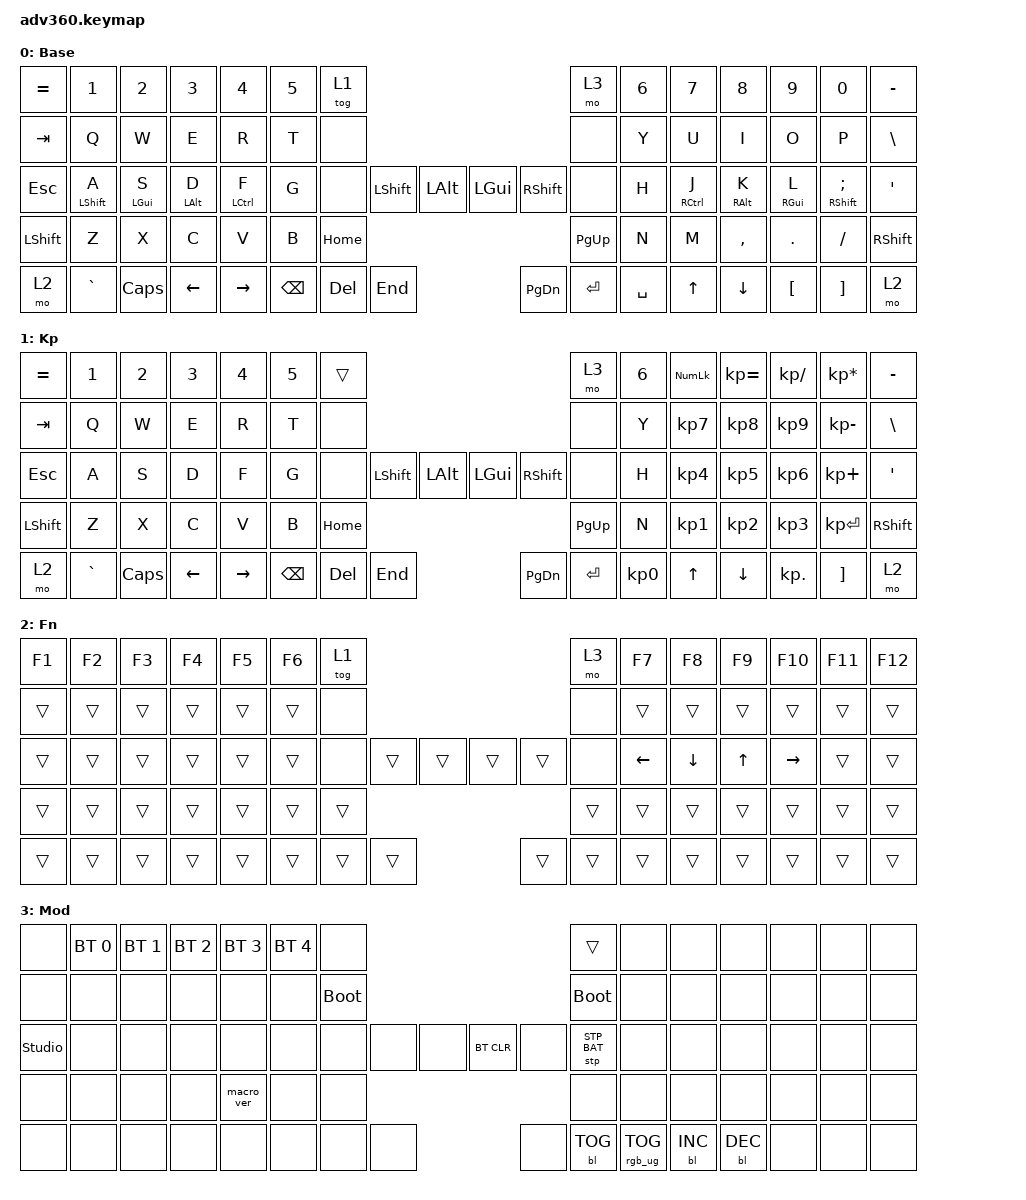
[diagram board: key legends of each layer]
#include <behaviors.dtsi>
#include <dt-bindings/zmk/keys.h>
#include <dt-bindings/zmk/bt.h>
#include <dt-bindings/zmk/rgb.h>
#include <dt-bindings/zmk/stp.h>
#include <dt-bindings/zmk/backlight.h>
#include <dt-bindings/zmk/pointing.h>

#define KEYS_LEFT 0 1 2 3 4 5 6 \
                  14 15 16 17 18 19 20 \
                  28 29 30 31 32 33 34 \
                  46 47 48 49 50 51 \
                  66 67 68 69 70

#define KEYS_RIGHT 7 8 9 10 11 12 13 \
                   21 22 23 24 25 26 27 \
                   39 40 41 42 43 44 45 \
                   60 61 62 63 64 65 \
                   77 78 79 80 81

#define THUMBS_LEFT 35 36 54 71 72 73

#define THUMBS_RIGHT 37 38 57 74 75 76

#define THUMBS THUMBS_LEFT THUMBS_RIGHT

// Home row mods CAGS
#define _F_CTL &hm_l LCTRL F  // Control on index
#define _D_ALT &hm_l LALT D
#define _S_GUI &hm_l LGUI S   // Command on middle fingers 
#define _A_SFT &hm_l LSHFT A
#define _J_CTL &hm_r RCTRL J  // Control on index
#define _K_ALT &hm_r RALT K
#define _L_GUI &hm_r RGUI L   // Command on middle fingers
#define _SM_SFT &hm_r RSHFT SEMI


/ {
    behaviors {
      #include "macros.dtsi"
      #include "version.dtsi"

      hm: homerow_mods {
          compatible = "zmk,behavior-hold-tap";
          label = "HOMEROW_MODS";
          #binding-cells = <2>;
          tapping-term-ms = <200>;
          require-prior-idle-ms = <150>;
          quick_tap_ms = <175>;
          flavor = "tap-preferred";
          bindings = <&kp>, <&kp>;
      };
      hm_l: homerow_mods_left {
        compatible = "zmk,behavior-hold-tap";
        label = "HOMEROW_MODS_LEFT";
        #binding-cells = <2>;
        tapping-term-ms = <200>;
        quick_tap_ms = <175>;
        require-prior-idle-ms = <125>;
        flavor = "tap-preferred";
        bindings = <&kp>, <&kp>; 
        hold-trigger-key-positions = <KEYS_RIGHT THUMBS>;
        hold-trigger-on-release;

      };
      hm_r: homerow_mods_right {
        compatible = "zmk,behavior-hold-tap";
        label = "HOMEROW_MODS_RIGHT";
        #binding-cells = <2>;
        tapping-term-ms = <200>;
        quick_tap_ms = <175>;
        require-prior-idle-ms = <125>;
        flavor = "tap-preferred";
        bindings = <&kp>, <&kp>;
        hold-trigger-key-positions = <KEYS_LEFT THUMBS>;
        hold-trigger-on-release;

      };
    };

  keymap {
    compatible = "zmk,keymap";

    default_layer {
      display-name = "Base";
      bindings = <
        &kp EQUAL &kp N1    &kp N2   &kp N3   &kp N4     &kp N5 &tog 1                                                           &mo 3 &kp N6 &kp N7 &kp N8    &kp N9   &kp N0   &kp MINUS
        &kp TAB   &kp Q     &kp W    &kp E    &kp R      &kp T  &none                                                            &none &kp Y  &kp U  &kp I     &kp O    &kp P    &kp BSLH
        &kp ESC   _A_SFT    _S_GUI  _D_ALT  _F_CTL       &kp G  &none           &kp LSHFT &kp LALT &kp LGUI  &kp RSHFT           &none &kp H  _J_CTL _K_ALT    _L_GUI   _SM_SFT  &kp SQT
        &kp LSHFT &kp Z     &kp X    &kp C    &kp V      &kp B                            &kp HOME &kp PG_UP                           &kp N  &kp M  &kp COMMA &kp DOT  &kp FSLH &kp RSHFT
        &mo 2     &kp GRAVE &kp CAPS &kp LEFT &kp RIGHT                &kp BSPC &kp DEL   &kp END  &kp PG_DN &kp ENTER &kp SPACE              &kp UP &kp DOWN  &kp LBKT &kp RBKT &mo 2
      >;
    };
    keypad {
      display-name = "Kp";
      bindings = <
        &kp EQUAL &kp N1    &kp N2   &kp N3   &kp N4     &kp N5 &trans                                                           &mo 3 &kp N6 &kp KP_NUM &kp KP_EQUAL &kp KP_DIVIDE &kp KP_MULTIPLY &kp MINUS
        &kp TAB   &kp Q     &kp W    &kp E    &kp R      &kp T  &none                                                            &none &kp Y  &kp KP_N7  &kp KP_N8    &kp KP_N9     &kp KP_MINUS    &kp BSLH
        &kp ESC   &kp A     &kp S    &kp D    &kp F      &kp G  &none           &kp LSHFT &kp LALT &kp LGUI  &kp RSHFT           &none &kp H  &kp KP_N4  &kp KP_N5    &kp KP_N6     &kp KP_PLUS     &kp SQT
        &kp LSHFT &kp Z     &kp X    &kp C    &kp V      &kp B                            &kp HOME &kp PG_UP                           &kp N  &kp KP_N1  &kp KP_N2    &kp KP_N3     &kp KP_ENTER    &kp RSHFT
        &mo 2     &kp GRAVE &kp CAPS &kp LEFT &kp RIGHT                &kp BSPC &kp DEL   &kp END  &kp PG_DN &kp ENTER &kp KP_N0              &kp UP     &kp DOWN     &kp KP_DOT    &kp RBKT        &mo 2
      >;
    };
    fn {
      display-name = "Fn";
      bindings = <
        &kp F1 &kp F2 &kp F3 &kp F4 &kp F5 &kp F6 &tog 1                                           &mo 3 &kp F7   &kp F8    &kp F9 &kp F10   &kp F11 &kp F12
        &trans &trans &trans &trans &trans &trans  &none                                           &none &trans   &trans    &trans &trans    &trans  &trans
        &trans &trans &trans &trans &trans &trans  &none        &trans &trans &trans &trans        &none &kp LEFT &kp DOWN  &kp UP &kp RIGHT &trans  &trans
        &trans &trans &trans &trans &trans &trans                      &trans &trans                     &trans   &trans    &trans &trans    &trans  &trans
        &trans &trans &trans &trans &trans               &trans &trans &trans &trans &trans &trans                &trans    &trans &trans    &trans  &trans
      >;
    };
    mod {
      display-name = "Mod";
      bindings = <
        &none &bt BT_SEL 0 &bt BT_SEL 1 &bt BT_SEL 2 &bt BT_SEL 3 &bt BT_SEL 4 &none                                                                     &trans                 &none        &none        &none        &none &none &none
        &none &none        &none        &none        &none        &none        &bootloader                                                               &bootloader            &none        &none        &none        &none &none &none
        &studio_unlock &none        &none        &none        &none        &none        &none                   &none &none &bt BT_CLR &none                      &stp STP_BAT &none        &none        &none        &none &none &none
        &none &none        &none        &none        &macro_ver   &none                                      &none &none                                                        &none        &none        &none        &none &none &none
        &none &none        &none        &none        &none                                       &none &none &none &none      &bl BL_TOG &rgb_ug RGB_TOG                                     &bl BL_INC   &bl BL_DEC   &none &none &none
      >;
    };
    extra1 { 
      display-name = "Red";    
      status = "reserved";
    };

    extra2 { 
      display-name = "Purple";    
      status = "reserved";
    };

    extra3 { 
      display-name = "Cyan";    
      status = "reserved";
    };

    extra4 { 
      display-name = "Yellow";    
      status = "reserved";
    };
  };
};
